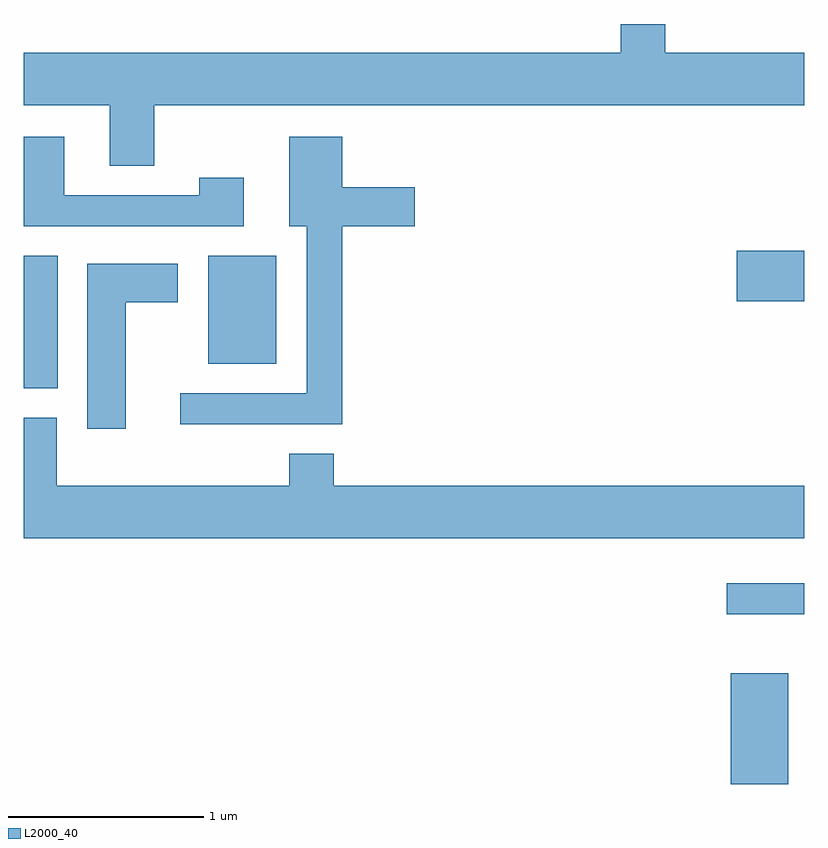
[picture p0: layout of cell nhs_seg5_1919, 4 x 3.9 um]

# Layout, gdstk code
import gdstk
lib = gdstk.Library(unit=1e-6, precision=1e-09)
def R(c, l, rs):  # rectangles x0, y0, x1, y1
    for r in rs: c.add(gdstk.rectangle(r[:2], r[2:], *l))
def P(c, l, *ps):  # polygons
    for p in ps: c.add(gdstk.Polygon(p, *l))
L2000_40 = (2000, 40)

nhs_seg5_1919 = lib.new_cell('nhs_seg5_1919')
R(nhs_seg5_1919, L2000_40, [(245.236,1482.176,245.529,1482.744), (245.213,1483.046,245.611,1483.204), (241.611,1484.206,241.784,1484.884), (242.556,1484.331,242.904,1484.884), (245.266,1484.651,245.611,1484.909)])
P(nhs_seg5_1919, L2000_40, [(241.611,1485.656),(242.051,1485.656),(242.051,1485.346),(242.279,1485.346),(242.279,1485.656),(245.611,1485.656),(245.611,1485.924),(244.899,1485.924),(244.899,1486.072),(244.671,1486.072),(244.671,1485.924),(241.611,1485.924)],
  [(243.244,1485.036),(243.614,1485.036),(243.614,1485.234),(243.244,1485.234),(243.244,1485.494),(242.971,1485.494),(242.971,1485.036),(243.061,1485.036),(243.061,1484.179),(242.413,1484.179),(242.413,1484.021),(243.244,1484.021)],
  [(242.739,1485.284),(242.511,1485.284),(242.511,1485.194),(241.819,1485.194),(241.819,1485.494),(241.611,1485.494),(241.611,1485.036),(242.739,1485.036)],
  [(242.134,1484.646),(242.399,1484.646),(242.399,1484.844),(241.936,1484.844),(241.936,1483.996),(242.134,1483.996)],
  [(245.611,1483.704),(243.199,1483.704),(243.199,1483.869),(242.971,1483.869),(242.971,1483.704),(241.779,1483.704),(241.779,1484.054),(241.611,1484.054),(241.611,1483.436),(245.611,1483.436)])

lib.write_gds('nhs_seg5_1919.gds')
